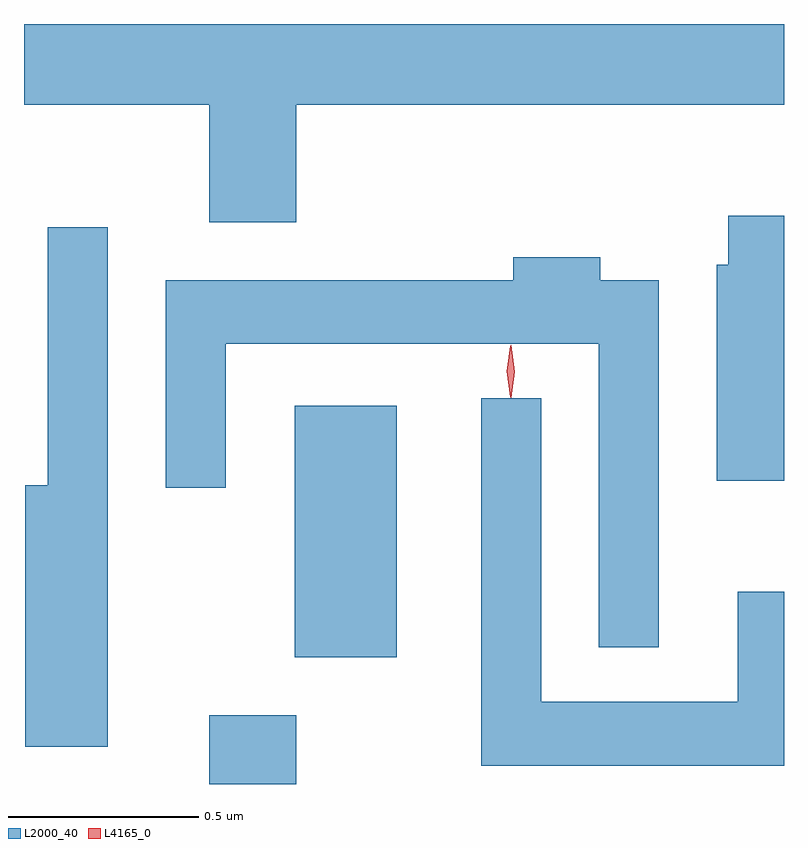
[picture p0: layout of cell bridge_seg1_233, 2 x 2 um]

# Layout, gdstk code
import gdstk
lib = gdstk.Library(unit=1e-6, precision=1e-09)
def R(c, l, rs):  # rectangles x0, y0, x1, y1
    for r in rs: c.add(gdstk.rectangle(r[:2], r[2:], *l))
def P(c, l, *ps):  # polygons
    for p in ps: c.add(gdstk.Polygon(p, *l))
L2000_40 = (2000, 40)
L4165_0 = (4165, 0)

bridge_seg1_233 = lib.new_cell('bridge_seg1_233')
R(bridge_seg1_233, L2000_40, [(835.901,897.788,836.129,897.969), (836.126,898.121,836.394,898.784)])
P(bridge_seg1_233, L2000_40, [(836.129,899.576),(837.413,899.576),(837.413,899.788),(835.413,899.788),(835.413,899.576),(835.901,899.576),(835.901,899.266),(836.129,899.266)],
  [(837.413,899.284),(837.266,899.284),(837.266,899.154),(837.236,899.154),(837.236,898.586),(837.413,898.586)],
  [(835.634,899.253),(835.476,899.253),(835.476,898.574),(835.416,898.574),(835.416,897.886),(835.634,897.886)],
  [(837.084,899.114),(836.929,899.114),(836.929,899.174),(836.701,899.174),(836.701,899.114),(835.786,899.114),(835.786,898.568),(835.944,898.568),(835.944,898.946),(836.926,898.946),(836.926,898.148),(837.084,898.148)],
  [(837.413,898.294),(837.291,898.294),(837.291,898.004),(836.774,898.004),(836.774,898.803),(836.616,898.803),(836.616,897.836),(837.413,897.836)])
P(bridge_seg1_233, L4165_0, [(836.694,898.804),(836.685,898.873),(836.694,898.942),(836.695,898.943),(836.695,898.942),(836.705,898.873),(836.695,898.804),(836.695,898.804)],
  [(836.693,898.807),(836.693,898.807),(836.683,898.874),(836.693,898.94),(836.693,898.94),(836.694,898.94),(836.703,898.874),(836.694,898.807)])

lib.write_gds('bridge_seg1_233.gds')
